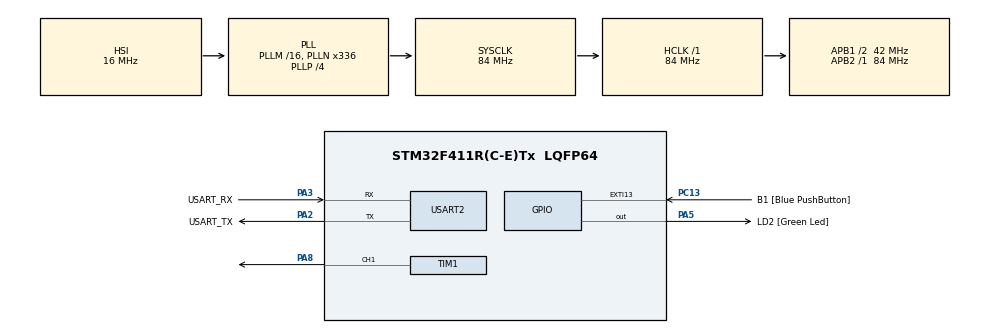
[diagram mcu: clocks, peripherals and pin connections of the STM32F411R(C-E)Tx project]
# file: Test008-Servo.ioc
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Mcu.Family=STM32F4
Mcu.Name=STM32F411R(C-E)Tx
Mcu.Package=LQFP64
NVIC.EXTI15_10_IRQn=true\:0\:0\:false\:false\:true\:true\:true\:true
NVIC.PriorityGroup=NVIC_PRIORITYGROUP_0
PA13.GPIO_Label=TMS
PA13.Mode=Serial_Wire
PA13.Signal=SYS_JTMS-SWDIO
PA14.GPIO_Label=TCK
PA14.Mode=Serial_Wire
PA14.Signal=SYS_JTCK-SWCLK
PA2.GPIO_Label=USART_TX
PA2.Mode=Asynchronous
PA2.Signal=USART2_TX
PA3.GPIO_Label=USART_RX
PA3.Mode=Asynchronous
PA3.Signal=USART2_RX
PA5.GPIO_Label=LD2 [Green Led]
PA5.Signal=GPIO_Output
PA8.Signal=S_TIM1_CH1
PB3.GPIO_Label=SWO
PB3.Signal=SYS_JTDO-SWO
PC13-ANTI_TAMP.GPIO_Label=B1 [Blue PushButton]
PC13-ANTI_TAMP.GPIO_ModeDefaultEXTI=GPIO_MODE_IT_FALLING
PC13-ANTI_TAMP.Signal=GPXTI13
PC14-OSC32_IN.Mode=LSE-External-Oscillator
PC14-OSC32_IN.Signal=RCC_OSC32_IN
PC15-OSC32_OUT.Mode=LSE-External-Oscillator
PC15-OSC32_OUT.Signal=RCC_OSC32_OUT
PH0\ -\ OSC_IN.Mode=HSE-External-Clock-Source
PH0\ -\ OSC_IN.Signal=RCC_OSC_IN
PH1\ -\ OSC_OUT.Mode=HSE-External-Clock-Source
PH1\ -\ OSC_OUT.Signal=RCC_OSC_OUT
ProjectManager.HeapSize=0x200
ProjectManager.StackSize=0x400
ProjectManager.TargetToolchain=STM32CubeIDE
RCC.48MHZClocksFreq_Value=84000000
RCC.AHBFreq_Value=84000000
RCC.APB1CLKDivider=RCC_HCLK_DIV2
RCC.APB1Freq_Value=42000000
RCC.APB1TimFreq_Value=84000000
RCC.APB2Freq_Value=84000000
RCC.APB2TimFreq_Value=84000000
RCC.CortexFreq_Value=84000000
RCC.FLatency-AdvancedSettings=FLASH_LATENCY_2
RCC.HCLKFreq_Value=84000000
RCC.HSE_VALUE=8000000
RCC.HSI_VALUE=16000000
RCC.PLLN=336
RCC.PLLP=RCC_PLLP_DIV4
RCC.SYSCLKFreq_VALUE=84000000
RCC.SYSCLKSource=RCC_SYSCLKSOURCE_PLLCLK
RCC.VCOOutputFreq_Value=336000000
SH.S_TIM1_CH1.0=TIM1_CH1,PWM Generation1 CH1
TIM1.Channel-PWM\ Generation1\ CH1=TIM_CHANNEL_1
TIM1.Period=1000-1
TIM1.Prescaler=1680-1
USART2.VirtualMode=VM_ASYNC
VP_TIM1_VS_ClockSourceINT.Mode=Internal
board=NUCLEO-F411RE

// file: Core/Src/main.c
/* USER CODE BEGIN Header */
/**
  ******************************************************************************
  * @file           : main.c
  * @brief          : Main program body
  ******************************************************************************
  * @attention
  *
  * Copyright (c) 2024 STMicroelectronics.
  * All rights reserved.
  *
  * This software is licensed under terms that can be found in the LICENSE file
  * in the root directory of this software component.
  * If no LICENSE file comes with this software, it is provided AS-IS.
  *
  ******************************************************************************
  */
/* USER CODE END Header */
#include "main.h"

TIM_HandleTypeDef htim1;

UART_HandleTypeDef huart2;

void SystemClock_Config(void);
static void MX_GPIO_Init(void);
static void MX_USART2_UART_Init(void);
static void MX_TIM1_Init(void);

/* USER CODE BEGIN 0 */
//int dr = 0;
int degreeMax = 180;
int stepMin = 0;  // CCR_MIN = 1000
int stepMax = 30;  // CCR_MAX = 2000
int step = 1;
void HAL_GPIO_EXTI_Callback(uint16_t GPIO_Pin)
{
	if(GPIO_Pin == B1_Pin)
	{
		if(++step > stepMax) step = 1;
	}
}

/* USER CODE END 0 */

int main(void)
{

  /* MCU Configuration--------------------------------------------------------*/

  /* Reset of all peripherals, Initializes the Flash interface and the Systick. */
  HAL_Init();

  /* Configure the system clock */
  SystemClock_Config();

  /* Initialize all configured peripherals */
  MX_GPIO_Init();
  MX_USART2_UART_Init();
  MX_TIM1_Init();
  /* USER CODE BEGIN 2 */

  ProgramStart("Servo motor Test");
  HAL_TIM_PWM_Start(&htim1, TIM_CHANNEL_1);
  /* USER CODE END 2 */

  /* Infinite loop */
  /* USER CODE BEGIN WHILE */
  int ccr = step;
  while (1)
  {
    /* USER CODE END WHILE */

    /* USER CODE BEGIN 3 */
	  int sa = (step-1) * 10;     //Servo Angle
	  BufClear();
	  printf("\033[5;2HServo Angle : %d  (ccr:%d) ==> CCR :\033[A\n", sa, ccr);
	  scanf("%d", &ccr);
	  htim1.Instance->CCR1 = ccr;//dr + 10;   // dr : 0~9,  10 ~ 19
  }
  /* USER CODE END 3 */
}

void SystemClock_Config(void)
{
  RCC_OscInitTypeDef RCC_OscInitStruct = {0};
  RCC_ClkInitTypeDef RCC_ClkInitStruct = {0};

  /** Configure the main internal regulator output voltage
  */
  __HAL_RCC_PWR_CLK_ENABLE();
  __HAL_PWR_VOLTAGESCALING_CONFIG(PWR_REGULATOR_VOLTAGE_SCALE1);

  /** Initializes the RCC Oscillators according to the specified parameters
  * in the RCC_OscInitTypeDef structure.
  */
  RCC_OscInitStruct.OscillatorType = RCC_OSCILLATORTYPE_HSI;
  RCC_OscInitStruct.HSIState = RCC_HSI_ON;
  RCC_OscInitStruct.HSICalibrationValue = RCC_HSICALIBRATION_DEFAULT;
  RCC_OscInitStruct.PLL.PLLState = RCC_PLL_ON;
  RCC_OscInitStruct.PLL.PLLSource = RCC_PLLSOURCE_HSI;
  RCC_OscInitStruct.PLL.PLLM = 16;
  RCC_OscInitStruct.PLL.PLLN = 336;
  RCC_OscInitStruct.PLL.PLLP = RCC_PLLP_DIV4;
  RCC_OscInitStruct.PLL.PLLQ = 4;
  if (HAL_RCC_OscConfig(&RCC_OscInitStruct) != HAL_OK)
  {
    Error_Handler();
  }

  /** Initializes the CPU, AHB and APB buses clocks
  */
  RCC_ClkInitStruct.ClockType = RCC_CLOCKTYPE_HCLK|RCC_CLOCKTYPE_SYSCLK
                              |RCC_CLOCKTYPE_PCLK1|RCC_CLOCKTYPE_PCLK2;
  RCC_ClkInitStruct.SYSCLKSource = RCC_SYSCLKSOURCE_PLLCLK;
  RCC_ClkInitStruct.AHBCLKDivider = RCC_SYSCLK_DIV1;
  RCC_ClkInitStruct.APB1CLKDivider = RCC_HCLK_DIV2;
  RCC_ClkInitStruct.APB2CLKDivider = RCC_HCLK_DIV1;

  if (HAL_RCC_ClockConfig(&RCC_ClkInitStruct, FLASH_LATENCY_2) != HAL_OK)
  {
    Error_Handler();
  }
}

static void MX_TIM1_Init(void)
{

  TIM_ClockConfigTypeDef sClockSourceConfig = {0};
  TIM_MasterConfigTypeDef sMasterConfig = {0};
  TIM_OC_InitTypeDef sConfigOC = {0};
  TIM_BreakDeadTimeConfigTypeDef sBreakDeadTimeConfig = {0};

  htim1.Instance = TIM1;
  htim1.Init.Prescaler = 1680-1;
  htim1.Init.CounterMode = TIM_COUNTERMODE_UP;
  htim1.Init.Period = 1000-1;
  htim1.Init.ClockDivision = TIM_CLOCKDIVISION_DIV1;
  htim1.Init.RepetitionCounter = 0;
  htim1.Init.AutoReloadPreload = TIM_AUTORELOAD_PRELOAD_DISABLE;
  if (HAL_TIM_Base_Init(&htim1) != HAL_OK)
  {
    Error_Handler();
  }
  sClockSourceConfig.ClockSource = TIM_CLOCKSOURCE_INTERNAL;
  if (HAL_TIM_ConfigClockSource(&htim1, &sClockSourceConfig) != HAL_OK)
  {
    Error_Handler();
  }
  if (HAL_TIM_PWM_Init(&htim1) != HAL_OK)
  {
    Error_Handler();
  }
  sMasterConfig.MasterOutputTrigger = TIM_TRGO_RESET;
  sMasterConfig.MasterSlaveMode = TIM_MASTERSLAVEMODE_DISABLE;
  if (HAL_TIMEx_MasterConfigSynchronization(&htim1, &sMasterConfig) != HAL_OK)
  {
    Error_Handler();
  }
  sConfigOC.OCMode = TIM_OCMODE_PWM1;
  sConfigOC.Pulse = 0;
  sConfigOC.OCPolarity = TIM_OCPOLARITY_HIGH;
  sConfigOC.OCNPolarity = TIM_OCNPOLARITY_HIGH;
  sConfigOC.OCFastMode = TIM_OCFAST_DISABLE;
  sConfigOC.OCIdleState = TIM_OCIDLESTATE_RESET;
  sConfigOC.OCNIdleState = TIM_OCNIDLESTATE_RESET;
  if (HAL_TIM_PWM_ConfigChannel(&htim1, &sConfigOC, TIM_CHANNEL_1) != HAL_OK)
  {
    Error_Handler();
  }
  sBreakDeadTimeConfig.OffStateRunMode = TIM_OSSR_DISABLE;
  sBreakDeadTimeConfig.OffStateIDLEMode = TIM_OSSI_DISABLE;
  sBreakDeadTimeConfig.LockLevel = TIM_LOCKLEVEL_OFF;
  sBreakDeadTimeConfig.DeadTime = 0;
  sBreakDeadTimeConfig.BreakState = TIM_BREAK_DISABLE;
  sBreakDeadTimeConfig.BreakPolarity = TIM_BREAKPOLARITY_HIGH;
  sBreakDeadTimeConfig.AutomaticOutput = TIM_AUTOMATICOUTPUT_DISABLE;
  if (HAL_TIMEx_ConfigBreakDeadTime(&htim1, &sBreakDeadTimeConfig) != HAL_OK)
  {
    Error_Handler();
  }
  HAL_TIM_MspPostInit(&htim1);

}

static void MX_USART2_UART_Init(void)
{

  huart2.Instance = USART2;
  huart2.Init.BaudRate = 115200;
  huart2.Init.WordLength = UART_WORDLENGTH_8B;
  huart2.Init.StopBits = UART_STOPBITS_1;
  huart2.Init.Parity = UART_PARITY_NONE;
  huart2.Init.Mode = UART_MODE_TX_RX;
  huart2.Init.HwFlowCtl = UART_HWCONTROL_NONE;
  huart2.Init.OverSampling = UART_OVERSAMPLING_16;
  if (HAL_UART_Init(&huart2) != HAL_OK)
  {
    Error_Handler();
  }

}

static void MX_GPIO_Init(void)
{
  GPIO_InitTypeDef GPIO_InitStruct = {0};

  /* GPIO Ports Clock Enable */
  __HAL_RCC_GPIOC_CLK_ENABLE();
  __HAL_RCC_GPIOH_CLK_ENABLE();
  __HAL_RCC_GPIOA_CLK_ENABLE();
  __HAL_RCC_GPIOB_CLK_ENABLE();

  /*Configure GPIO pin Output Level */
  HAL_GPIO_WritePin(LD2_GPIO_Port, LD2_Pin, GPIO_PIN_RESET);

  /*Configure GPIO pin : B1_Pin */
  GPIO_InitStruct.Pin = B1_Pin;
  GPIO_InitStruct.Mode = GPIO_MODE_IT_FALLING;
  GPIO_InitStruct.Pull = GPIO_NOPULL;
  HAL_GPIO_Init(B1_GPIO_Port, &GPIO_InitStruct);

  /*Configure GPIO pin : LD2_Pin */
  GPIO_InitStruct.Pin = LD2_Pin;
  GPIO_InitStruct.Mode = GPIO_MODE_OUTPUT_PP;
  GPIO_InitStruct.Pull = GPIO_NOPULL;
  GPIO_InitStruct.Speed = GPIO_SPEED_FREQ_LOW;
  HAL_GPIO_Init(LD2_GPIO_Port, &GPIO_InitStruct);

  /* EXTI interrupt init*/
  HAL_NVIC_SetPriority(EXTI15_10_IRQn, 0, 0);
  HAL_NVIC_EnableIRQ(EXTI15_10_IRQn);

}

void Error_Handler(void)
{
  __disable_irq();
  while (1)
  {
  }
}
